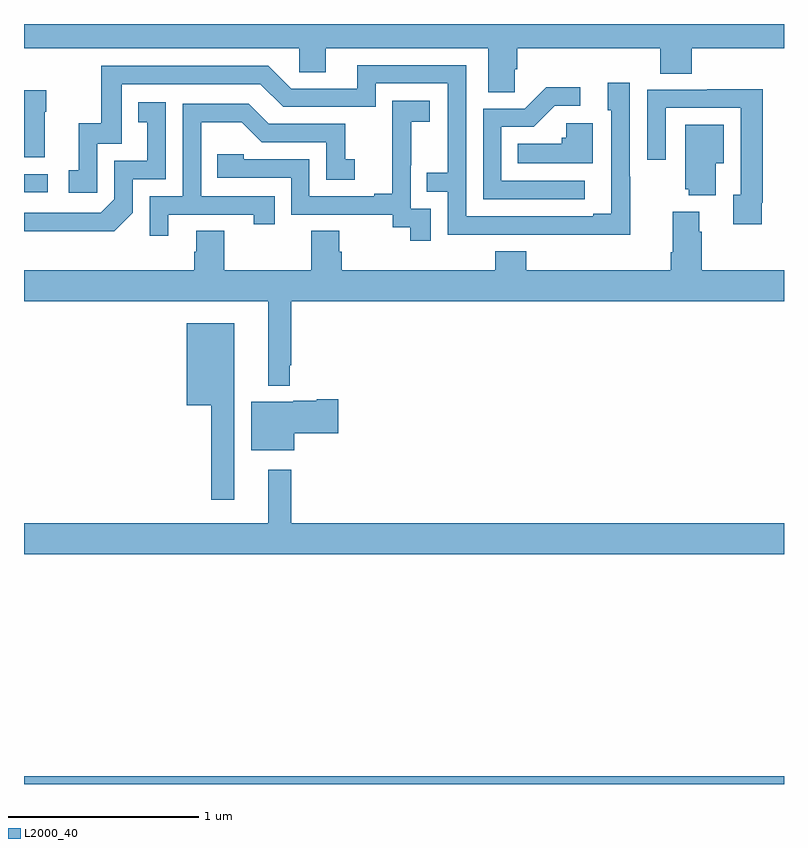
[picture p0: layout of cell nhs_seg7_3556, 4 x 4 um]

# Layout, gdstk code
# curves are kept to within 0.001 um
import gdstk
lib = gdstk.Library(unit=1e-6, precision=1e-09)
def R(c, l, rs):  # rectangles x0, y0, x1, y1
    for r in rs: c.add(gdstk.rectangle(r[:2], r[2:], *l))
def P(c, l, *ps):  # polygons
    for p in ps: c.add(gdstk.Polygon(p, *l))
L2000_40 = (2000, 40)

nhs_seg7_3556 = lib.new_cell('nhs_seg7_3556')
R(nhs_seg7_3556, L2000_40, [(337,1074,341,1074.04), (337,1077.114,337.126,1077.21)])
P(nhs_seg7_3556, L2000_40, [(339.582,1077.763),(339.596,1077.763),(339.596,1077.872),(340.349,1077.872),(340.349,1077.739),(340.514,1077.739),(340.514,1077.872),(341,1077.872),(341,1078),(337,1078),(337,1077.872),(338.448,1077.872),(338.448,1077.745),(338.587,1077.745),(338.587,1077.872),(339.443,1077.872),(339.443,1077.64),(339.582,1077.64)],
  [(340.191,1077.197),(340.188,1077.197),(340.188,1077.691),(340.073,1077.691),(340.073,1077.546),(340.092,1077.546),(340.092,1077.001),(339.995,1077.001),(339.995,1076.988),(339.327,1076.988),(339.327,1077.783),(338.753,1077.783),(338.753,1077.66),(338.406,1077.66),(338.286,1077.78),(337.407,1077.78),(337.407,1077.478),(337.289,1077.478),(337.289,1077.231),(337.236,1077.231),(337.236,1077.111),(337.386,1077.111),(337.386,1077.369),(337.515,1077.369),(337.515,1077.684),(338.244,1077.684),(338.364,1077.564),(338.85,1077.564),(338.85,1077.687),(339.231,1077.687),(339.231,1077.218),(339.121,1077.218),(339.121,1077.117),(339.231,1077.117),(339.231,1076.892),(340.191,1076.891)],
  [(339.952,1077.174),(339.513,1077.174),(339.513,1077.459),(339.682,1077.459),(339.793,1077.57),(339.928,1077.57),(339.928,1077.668),(339.749,1077.668),(339.636,1077.555),(339.417,1077.555),(339.417,1077.078),(339.952,1077.078)],
  [(340.882,1077.058),(340.889,1077.058),(340.889,1077.656),(340.597,1077.656),(340.597,1077.654),(340.281,1077.654),(340.281,1077.285),(340.377,1077.285),(340.377,1077.558),(340.773,1077.558),(340.773,1077.102),(340.733,1077.102),(340.733,1076.946),(340.882,1076.946)],
  [(337.108,1077.539),(337.116,1077.539),(337.116,1077.652),(337,1077.652),(337,1077.299),(337.108,1077.299)],
  [(339.141,1077.027),(339.036,1077.027),(339.036,1077.257),(339.038,1077.257),(339.038,1077.485),(339.136,1077.485),(339.136,1077.595),(338.938,1077.595),(338.938,1077.389),(338.939,1077.389),(338.939,1077.106),(338.843,1077.106),(338.843,1077.093),(338.502,1077.093),(338.502,1077.288),(338.157,1077.288),(338.157,1077.315),(338.017,1077.315),(338.017,1077.192),(338.406,1077.192),(338.406,1076.997),(338.94,1076.997),(338.94,1076.929),(339.033,1076.929),(339.033,1076.859),(339.141,1076.859)],
  [(337.572,1077.006),(337.572,1077.183),(337.746,1077.183),(337.746,1077.589),(337.6,1077.589),(337.6,1077.483),(337.649,1077.483),(337.649,1077.279),(337.476,1077.279),(337.476,1077.078),(337.404,1077.006),(337,1077.006),(337,1076.91),(337.066,1076.909),(337.474,1076.909)],
  [(337.759,1076.997),(338.21,1076.997),(338.21,1076.946),(338.321,1076.946),(338.321,1077.093),(337.932,1077.093),(337.932,1077.482),(338.146,1077.482),(338.25,1077.378),(338.592,1077.378),(338.592,1077.18),(338.74,1077.18),(338.74,1077.289),(338.691,1077.289),(338.691,1077.474),(338.287,1077.474),(338.182,1077.579),(337.836,1077.579),(337.836,1077.093),(337.662,1077.093),(337.662,1076.886),(337.759,1076.886)],
  [(339.994,1077.478),(339.855,1077.478),(339.855,1077.402),(339.829,1077.402),(339.829,1077.37),(339.598,1077.37),(339.598,1077.266),(339.994,1077.266)],
  [(340.642,1077.266),(340.684,1077.266),(340.684,1077.469),(340.481,1077.469),(340.481,1077.129),(340.499,1077.129),(340.499,1077.098),(340.642,1077.098)],
  [(338.399,1076.203),(338.407,1076.203),(338.407,1076.54),(341,1076.54),(341,1076.704),(340.568,1076.704),(340.568,1076.906),(340.555,1076.906),(340.555,1077.013),(340.415,1077.013),(340.415,1076.8),(340.403,1076.8),(340.403,1076.704),(339.644,1076.704),(339.644,1076.803),(339.479,1076.803),(339.479,1076.704),(338.672,1076.704),(338.672,1076.802),(338.659,1076.802),(338.659,1076.912),(338.512,1076.912),(338.512,1076.704),(338.055,1076.704),(338.055,1076.912),(337.907,1076.912),(337.907,1076.802),(337.895,1076.802),(337.895,1076.704),(337,1076.704),(337,1076.54),(338.285,1076.54),(338.285,1076.096),(338.399,1076.096)],
  [(338.107,1076.425),(337.856,1076.425),(337.856,1075.994),(337.986,1075.994),(337.986,1075.497),(338.107,1075.497)],
  [(338.422,1075.846),(338.653,1075.846),(338.653,1076.024),(338.54,1076.024),(338.54,1076.017),(338.418,1076.017),(338.418,1076.011),(338.195,1076.011),(338.195,1075.757),(338.422,1075.757)],
  [(341,1075.372),(338.407,1075.372),(338.407,1075.654),(338.285,1075.654),(338.285,1075.372),(337,1075.372),(337,1075.208),(341,1075.208)])

lib.write_gds('nhs_seg7_3556.gds')
